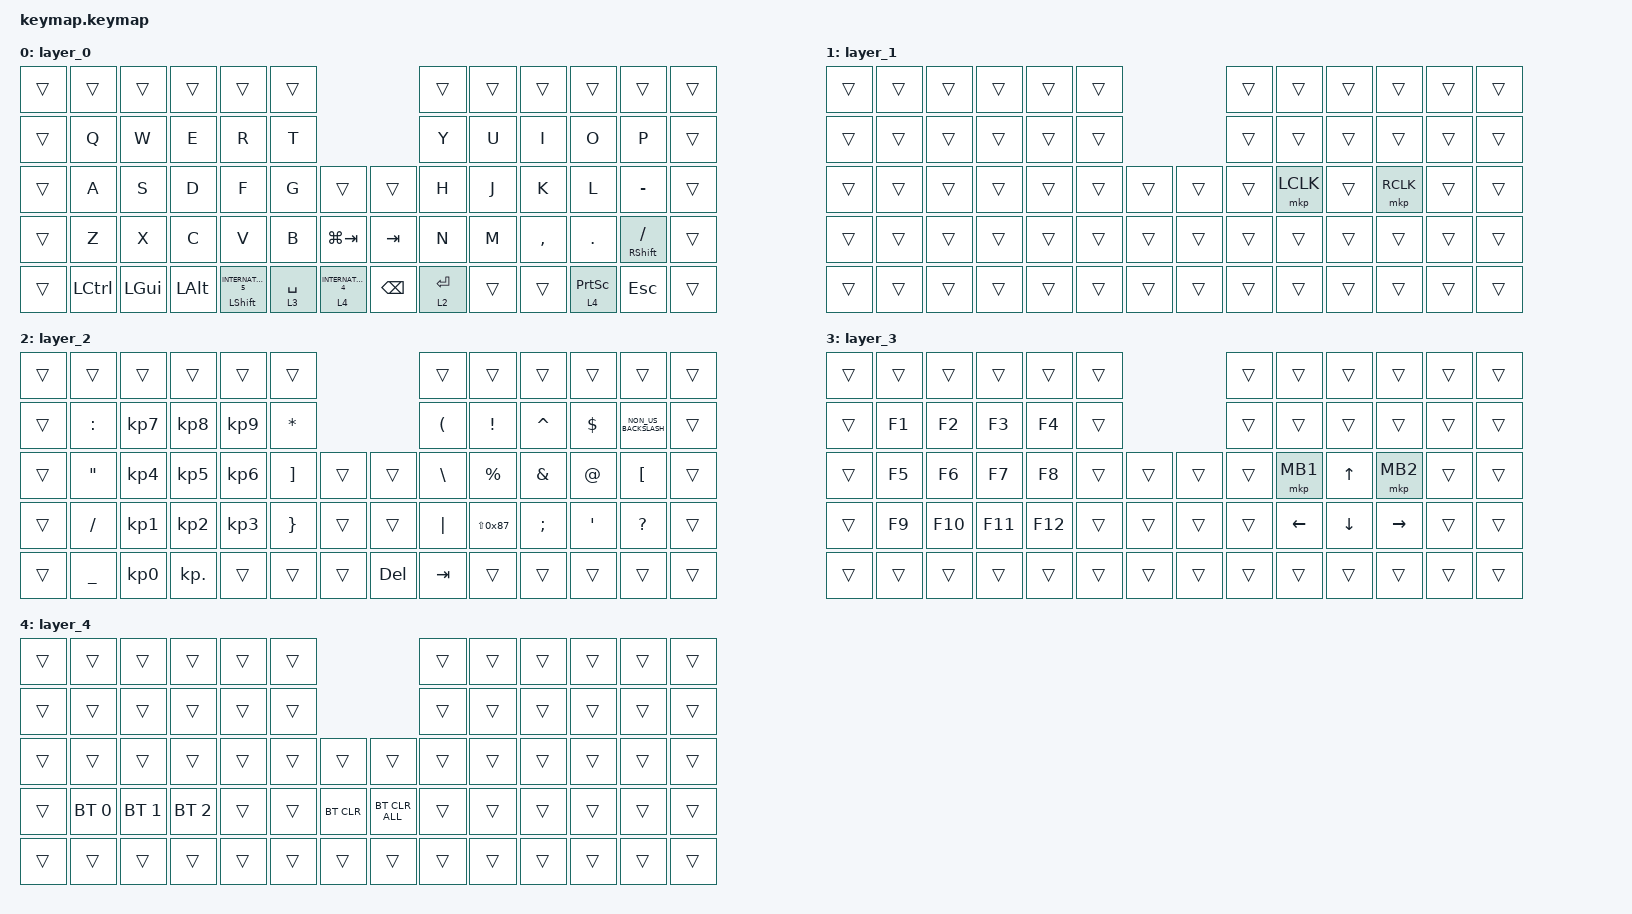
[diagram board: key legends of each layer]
#include <behaviors.dtsi>
#include <dt-bindings/zmk/bt.h>
#include <dt-bindings/zmk/keys.h>
#include <dt-bindings/zmk/pointing.h>

// OS設定を日本語キーボードのまま使用するための変換定義

#define JP_DQUOTE       AT                // "
#define JP_AMPERSAND    CARET             // &
#define JP_QUOTE        AMPERSAND         // '
#define JP_EQUAL        UNDER             // =
#define JP_CARET        EQUAL             // ^
#define JP_YEN          0x89              // ¥
#define JP_PLUS         COLON             // +
#define JP_TILDE        PLUS              // ~
#define JP_PIPE         LS(0x89)          // |
#define JP_AT           LEFT_BRACKET      // @
#define JP_COLON        SINGLE_QUOTE      // :
#define JP_ASTERISK     DOUBLE_QUOTES     // *
#define JP_BACKQUOTE    LEFT_BRACE        // `
#define JP_UNDERSCORE   LS(0x87)          // _
#define JP_LBRACKET     RIGHT_BRACKET     // [
#define JP_RBRACKET     BACKSLASH         // ]
#define JP_LPAREN       ASTERISK          // (
#define JP_RPAREN       LEFT_PARENTHESIS  // )
#define JP_LBRACE       RIGHT_BRACE       // {
#define JP_RBRACE       PIPE              // }
#define JP_KANA         LANGUAGE_1        // かな
#define JP_EISU         LANGUAGE_2        // 英数
#define JP_HANZEN       GRAVE             // 半角/全角

/*マウスキーを押したらタイムアウトを延長する*/

&mkp_input_listener { input-processors = <&zip_temp_layer 1 250>; };

/ {
    combos {
        compatible = "zmk,combos";

        bt_clear {
            bindings = <&bt BT_CLR>;
            key-positions = <28 29>;
            layers = <2>;
        };
    };

    keymap {
        compatible = "zmk,keymap";

        layer_0 {
            bindings = <
&trans  &trans     &trans    &trans    &trans                          &trans                                             &trans       &trans  &trans     &trans             &trans                &trans
&trans  &kp Q      &kp W     &kp E     &kp R                           &kp T                                              &kp Y        &kp U   &kp I      &kp O              &kp P                 &trans
&trans  &kp A      &kp S     &kp D     &kp F                           &kp G        &trans                 &trans         &kp H        &kp J   &kp K      &kp L              &kp MINUS             &trans
&trans  &kp Z      &kp X     &kp C     &kp V                           &kp B        &kp LG(TAB)            &kp TAB        &kp N        &kp M   &kp COMMA  &kp DOT            &mt RIGHT_SHIFT FSLH  &trans
&trans  &kp LCTRL  &kp LGUI  &kp LALT  &mt LEFT_SHIFT INTERNATIONAL_5  &lt 3 SPACE  &lt 4 INTERNATIONAL_4  &kp BACKSPACE  &lt 2 ENTER  &trans  &trans     &lt 4 PRINTSCREEN  &kp ESCAPE            &trans
            >;
        };

        layer_1 {
            bindings = <
&trans  &trans  &trans  &trans  &trans  &trans                  &trans  &trans     &trans  &trans     &trans  &trans
&trans  &trans  &trans  &trans  &trans  &trans                  &trans  &trans     &trans  &trans     &trans  &trans
&trans  &trans  &trans  &trans  &trans  &trans  &trans  &trans  &trans  &mkp LCLK  &trans  &mkp RCLK  &trans  &trans
&trans  &trans  &trans  &trans  &trans  &trans  &trans  &trans  &trans  &trans     &trans  &trans     &trans  &trans
&trans  &trans  &trans  &trans  &trans  &trans  &trans  &trans  &trans  &trans     &trans  &trans     &trans  &trans
            >;
        };

        layer_2 {
            bindings = <
&trans  &trans           &trans           &trans           &trans           &trans                            &trans           &trans             &trans            &trans         &trans                &trans
&trans  &kp JP_PLUS      &kp KP_NUMBER_7  &kp KP_NUMBER_8  &kp KP_NUMBER_9  &kp JP_LPAREN                     &kp JP_RPAREN    &kp EXCLAMATION    &kp JP_AMPERSAND  &kp DOLLAR     &kp NON_US_BACKSLASH  &trans
&trans  &kp JP_ASTERISK  &kp KP_NUMBER_4  &kp KP_NUMBER_5  &kp KP_NUMBER_6  &kp JP_LBRACKET  &trans  &trans   &kp JP_RBRACKET  &kp PERCENT        &kp JP_QUOTE      &kp JP_DQUOTE  &kp JP_AT             &trans
&trans  &kp FSLH         &kp KP_NUMBER_1  &kp KP_N2        &kp KP_N3        &kp JP_LBRACE    &trans  &trans   &kp JP_RBRACE    &kp JP_UNDERSCORE  &kp SEMICOLON     &kp JP_COLON   &kp QUESTION          &trans
&trans  &kp JP_EQUAL     &kp KP_NUMBER_0  &kp KP_DOT       &trans           &trans           &trans  &kp DEL  &kp TAB          &trans             &trans            &trans         &trans                &trans
            >;
        };

        layer_3 {
            bindings = <
&trans  &trans  &trans   &trans   &trans   &trans                  &trans  &trans    &trans        &trans     &trans  &trans
&trans  &kp F1  &kp F2   &kp F3   &kp F4   &trans                  &trans  &trans    &trans        &trans     &trans  &trans
&trans  &kp F5  &kp F6   &kp F7   &kp F8   &trans  &trans  &trans  &trans  &mkp MB1  &kp UP_ARROW  &mkp MB2   &trans  &trans
&trans  &kp F9  &kp F10  &kp F11  &kp F12  &trans  &trans  &trans  &trans  &kp LEFT  &kp DOWN      &kp RIGHT  &trans  &trans
&trans  &trans  &trans   &trans   &trans   &trans  &trans  &trans  &trans  &trans    &trans        &trans     &trans  &trans
            >;
        };

        layer_4 {
            bindings = <
&trans  &trans        &trans        &trans        &trans  &trans                              &trans  &trans  &trans  &trans  &trans  &trans
&trans  &trans        &trans        &trans        &trans  &trans                              &trans  &trans  &trans  &trans  &trans  &trans
&trans  &trans        &trans        &trans        &trans  &trans  &trans      &trans          &trans  &trans  &trans  &trans  &trans  &trans
&trans  &bt BT_SEL 0  &bt BT_SEL 1  &bt BT_SEL 2  &trans  &trans  &bt BT_CLR  &bt BT_CLR_ALL  &trans  &trans  &trans  &trans  &trans  &trans
&trans  &trans        &trans        &trans        &trans  &trans  &trans      &trans          &trans  &trans  &trans  &trans  &trans  &trans
            >;
        };
    };
};
